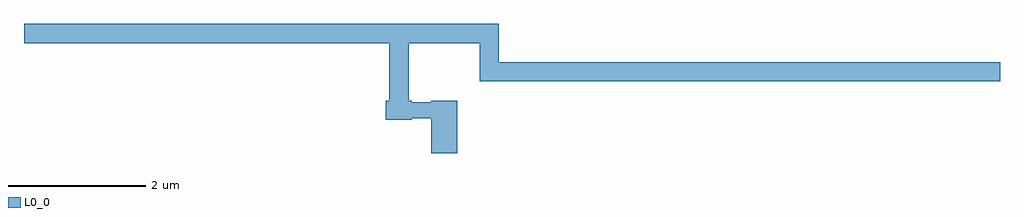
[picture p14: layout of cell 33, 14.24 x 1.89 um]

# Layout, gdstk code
import gdstk
lib = gdstk.Library(unit=1e-6, precision=1e-09)
def P(c, l, *ps):  # polygons
    for p in ps: c.add(gdstk.Polygon(p, *l))
L0_0 = (0, 0)

c_33 = lib.new_cell('33')
P(c_33, L0_0, [(905.66,964.18),(906.04,964.18),(906.04,963.9),(905.66,963.9),(905.66,964.18)],
  [(906.32,964.18),(906.7,964.18),(906.7,963.415),(906.32,963.415),(906.32,964.18)],
  [(905.735,964.155),(906.51,964.155),(906.51,963.925),(905.735,963.925),(905.735,964.155)],
  [(905.71,963.9),(905.71,965.3),(905.99,965.3),(905.99,963.9),(905.71,963.9)],
  [(905.66,964.18),(906.04,964.18),(906.04,963.9),(905.66,963.9),(905.66,964.18)],
  [(905.66,965.3),(906.04,965.3),(906.04,965.02),(905.66,965.02),(905.66,965.3)],
  [(905.66,965.3),(906.04,965.3),(906.04,965.02),(905.66,965.02),(905.66,965.3)],
  [(914.24,964.74),(914.62,964.74),(914.62,964.46),(914.24,964.46),(914.24,964.74)],
  [(905.71,965.3),(907.31,965.3),(907.31,965.02),(905.71,965.02),(905.71,965.3)],
  [(907.03,964.46),(907.03,965.3),(907.31,965.3),(907.31,964.46),(907.03,964.46)],
  [(907.03,964.74),(914.57,964.74),(914.57,964.46),(907.03,964.46),(907.03,964.74)],
  [(900.43,965.3),(905.99,965.3),(905.99,965.02),(900.43,965.02),(900.43,965.3)],
  [(900.38,965.3),(900.76,965.3),(900.76,965.02),(900.38,965.02),(900.38,965.3)],
  [(905.66,965.3),(906.04,965.3),(906.04,965.02),(905.66,965.02),(905.66,965.3)],
  [(900.38,965.3),(900.76,965.3),(900.76,965.02),(900.38,965.02),(900.38,965.3)],
  [(900.43,965.3),(905.99,965.3),(905.99,965.02),(900.43,965.02),(900.43,965.3)])

lib.write_gds('33.gds')
